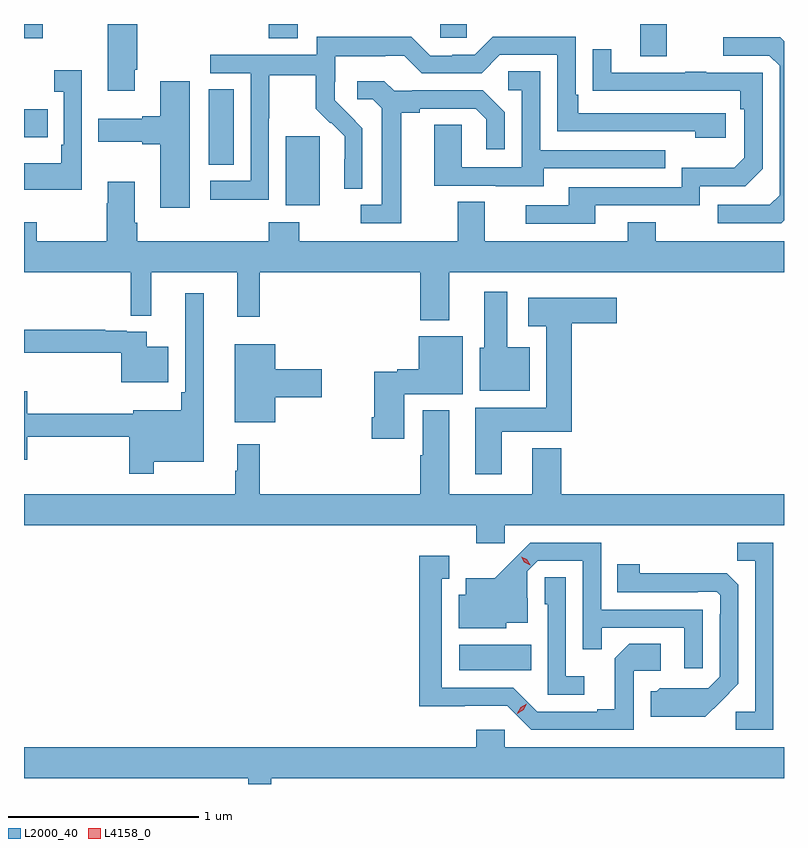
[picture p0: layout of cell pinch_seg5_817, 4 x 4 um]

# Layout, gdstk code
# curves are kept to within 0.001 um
import gdstk
lib = gdstk.Library(unit=1e-6, precision=1e-09)
def R(c, l, rs):  # rectangles x0, y0, x1, y1
    for r in rs: c.add(gdstk.rectangle(r[:2], r[2:], *l))
def P(c, l, *ps):  # polygons
    for p in ps: c.add(gdstk.Polygon(p, *l))
L2000_40 = (2000, 40)
L4158_0 = (4158, 0)

pinch_seg5_817 = lib.new_cell('pinch_seg5_817')
R(pinch_seg5_817, L2000_40, [(773.406,891.962,773.786,892.096), (772.493,894.41,772.672,894.771), (772.088,894.622,772.219,895.019), (771.115,894.767,771.239,894.915), (774.359,895.194,774.499,895.363), (771.115,895.289,771.213,895.363), (772.403,895.289,772.555,895.363), (773.307,895.29,773.445,895.363)])
P(pinch_seg5_817, L2000_40, [(771.697,895.123),(771.71,895.123),(771.71,895.363),(771.557,895.363),(771.557,895.011),(771.697,895.011)],
  [(772.404,894.868),(772.407,894.868),(772.407,895.092),(772.651,895.092),(772.651,894.917),(772.728,894.84),(772.731,894.843),(772.802,894.773),(772.802,894.65),(772.8,894.65),(772.8,894.496),(772.896,894.496),(772.896,894.814),(772.75,894.962),(772.75,895.059),(772.752,895.059),(772.752,895.193),(773.015,895.193),(773.015,895.197),(773.115,895.197),(773.208,895.104),(773.523,895.104),(773.619,895.2),(773.922,895.2),(773.922,894.798),(774.647,894.798),(774.647,894.764),(774.808,894.764),(774.808,894.894),(774.031,894.894),(774.031,894.991),(774.018,894.991),(774.018,895.296),(773.583,895.296),(773.487,895.2),(773.369,895.2),(773.369,895.197),(773.253,895.197),(773.153,895.297),(772.656,895.297),(772.656,895.2),(772.095,895.2),(772.095,895.104),(772.308,895.104),(772.308,894.537),(772.095,894.537),(772.095,894.439),(772.404,894.439)],
  [(775.115,894.329),(775.115,895.273),(775.095,895.293),(774.795,895.293),(774.795,895.197),(775.038,895.197),(775.092,895.143),(775.092,894.462),(775.041,894.411),(774.765,894.411),(774.765,894.315),(775.101,894.315)],
  [(774.121,894.408),(774.672,894.408),(774.672,894.51),(774.912,894.51),(775.002,894.6),(775.002,895.107),(774.707,895.107),(774.707,895.112),(774.595,895.112),(774.595,895.107),(774.205,895.107),(774.205,895.231),(774.109,895.231),(774.109,895.012),(774.886,895.011),(774.886,894.914),(774.906,894.914),(774.906,894.66),(774.853,894.607),(774.576,894.607),(774.576,894.504),(773.981,894.504),(773.981,894.408),(773.757,894.408),(773.757,894.312),(774.121,894.312)],
  [(771.42,895.12),(771.273,895.12),(771.273,895.007),(771.324,895.007),(771.324,894.727),(771.312,894.727),(771.312,894.631),(771.115,894.631),(771.115,894.491),(771.42,894.491)],
  [(773.851,894.603),(774.491,894.603),(774.491,894.699),(773.832,894.699),(773.832,895.115),(773.664,895.115),(773.664,895.014),(773.736,895.014),(773.736,894.609),(773.418,894.609),(773.418,894.833),(773.273,894.833),(773.273,894.513),(773.597,894.513),(773.597,894.509),(773.851,894.509)],
  [(771.988,895.063),(771.833,895.063),(771.833,894.878),(771.737,894.878),(771.737,894.865),(771.507,894.865),(771.507,894.743),(771.737,894.743),(771.737,894.731),(771.833,894.731),(771.833,894.396),(771.988,894.396)],
  [(773.101,894.896),(773.197,894.896),(773.197,894.918),(773.492,894.918),(773.549,894.861),(773.549,894.705),(773.646,894.705),(773.646,894.898),(773.53,895.014),(773.158,895.014),(773.158,895.011),(773.064,895.011),(773.012,895.063),(772.869,895.063),(772.869,894.966),(772.95,894.966),(772.997,894.919),(772.997,894.411),(772.887,894.411),(772.887,894.315),(773.101,894.315)],
  [(773.353,894.056),(775.115,894.056),(775.115,894.22),(774.441,894.22),(774.441,894.319),(774.293,894.319),(774.293,894.22),(773.539,894.22),(773.539,894.428),(773.399,894.428),(773.399,894.22),(772.563,894.22),(772.563,894.319),(772.403,894.319),(772.403,894.22),(771.71,894.22),(771.71,894.316),(771.697,894.316),(771.697,894.532),(771.557,894.532),(771.557,894.419),(771.55,894.419),(771.55,894.22),(771.183,894.22),(771.183,894.319),(771.115,894.319),(771.115,894.056),(771.676,894.056),(771.676,893.827),(771.785,893.827),(771.785,894.056),(772.238,894.056),(772.238,893.823),(772.355,893.823),(772.355,894.056),(773.201,894.056),(773.201,893.804),(773.353,893.804)],
  [(773.776,893.662),(773.659,893.662),(773.659,893.953),(773.537,893.953),(773.537,893.658),(773.513,893.658),(773.513,893.432),(773.776,893.432)],
  [(771.799,893.06),(772.06,893.06),(772.06,893.947),(771.963,893.947),(771.963,893.425),(771.943,893.425),(771.943,893.329),(771.689,893.329),(771.689,893.311),(771.131,893.311),(771.131,893.431),(771.115,893.431),(771.115,893.07),(771.131,893.07),(771.131,893.19),(771.67,893.19),(771.67,892.995),(771.799,892.995)],
  [(773.629,893.216),(773.999,893.216),(773.999,893.789),(774.235,893.789),(774.235,893.923),(773.769,893.923),(773.769,893.771),(773.864,893.771),(773.864,893.344),(773.489,893.344),(773.489,892.992),(773.629,892.992)],
  [(771.874,893.665),(771.76,893.665),(771.76,893.742),(771.656,893.742),(771.656,893.748),(771.542,893.748),(771.542,893.755),(771.115,893.755),(771.115,893.633),(771.214,893.633),(771.214,893.634),(771.626,893.634),(771.626,893.477),(771.874,893.477)],
  [(773.116,893.414),(773.425,893.414),(773.425,893.719),(773.192,893.719),(773.192,893.546),(773.079,893.546),(773.079,893.533),(772.958,893.533),(772.958,893.293),(772.946,893.293),(772.946,893.181),(773.116,893.181)],
  [(772.438,893.399),(772.681,893.399),(772.681,893.546),(772.438,893.546),(772.438,893.677),(772.223,893.677),(772.223,893.267),(772.438,893.267)],
  [(773.646,892.724),(775.115,892.724),(775.115,892.888),(773.942,892.888),(773.942,893.131),(773.789,893.131),(773.789,892.888),(773.353,892.888),(773.353,893.329),(773.213,893.329),(773.213,893.093),(773.201,893.093),(773.201,892.888),(772.355,892.888),(772.355,893.152),(772.238,893.152),(772.238,893.012),(772.227,893.012),(772.227,892.888),(771.115,892.888),(771.115,892.724),(773.495,892.724),(773.495,892.629),(773.646,892.629)],
  [(775.059,892.632),(774.868,892.632),(774.868,892.537),(774.963,892.537),(774.963,891.744),(774.861,891.744),(774.861,891.648),(775.059,891.648)],
  [(774.687,892.281),(774.153,892.281),(774.153,892.632),(773.78,892.632),(773.593,892.447),(773.441,892.447),(773.441,892.36),(773.402,892.36),(773.402,892.184),(773.652,892.184),(773.652,892.211),(773.767,892.211),(773.767,892.34),(773.763,892.34),(773.763,892.482),(773.82,892.539),(774.057,892.539),(774.057,892.072),(774.155,892.072),(774.155,892.185),(774.591,892.185),(774.591,891.972),(774.687,891.972)],
  [(774.324,891.96),(774.466,891.96),(774.466,892.1),(774.301,892.1),(774.225,892.024),(774.225,891.757),(774.131,891.757),(774.131,891.744),(773.817,891.744),(773.691,891.87),(773.314,891.87),(773.314,892.443),(773.353,892.443),(773.353,892.564),(773.196,892.564),(773.196,891.773),(773.658,891.774),(773.784,891.648),(774.324,891.648)],
  [(774.781,891.797),(774.873,891.89),(774.873,892.412),(774.814,892.471),(774.357,892.472),(774.357,892.519),(774.238,892.519),(774.238,892.371),(774.662,892.371),(774.662,892.374),(774.762,892.374),(774.78,892.356),(774.78,892.256),(774.777,892.256),(774.777,891.927),(774.717,891.867),(774.46,891.868),(774.444,891.852),(774.413,891.852),(774.413,891.716),(774.701,891.716)],
  [(774.064,891.931),(773.967,891.931),(773.967,892.451),(773.856,892.451),(773.856,892.308),(773.871,892.308),(773.871,891.834),(774.064,891.834)],
  [(772.417,891.392),(775.115,891.392),(775.115,891.556),(773.646,891.556),(773.646,891.649),(773.495,891.649),(773.495,891.556),(771.115,891.556),(771.115,891.392),(772.295,891.392),(772.295,891.363),(772.417,891.363)])
P(pinch_seg5_817, L4158_0, [(773.78,892.515),(773.749,892.53),(773.731,892.56),(773.731,892.56),(773.731,892.56),(773.762,892.545),(773.78,892.516),(773.78,892.515)],
  [(773.712,891.734),(773.712,891.735),(773.73,891.767),(773.762,891.786),(773.762,891.786),(773.762,891.785),(773.744,891.753),(773.712,891.734)])

lib.write_gds('pinch_seg5_817.gds')
